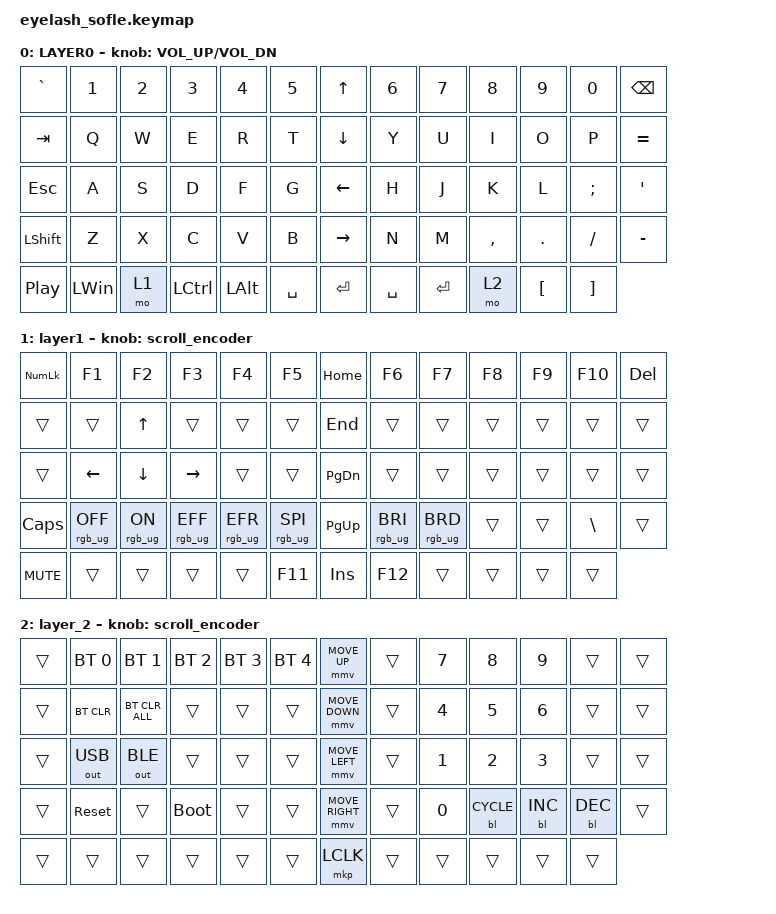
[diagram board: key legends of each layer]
#define ZMK_POINTING_DEFAULT_MOVE_VAL 1200  // 600
#define ZMK_POINTING_DEFAULT_SCRL_VAL 25   // 10

#include <input/processors.dtsi>
#include <zephyr/dt-bindings/input/input-event-codes.h>
#include <behaviors.dtsi>
#include <dt-bindings/zmk/backlight.h>
#include <dt-bindings/zmk/bt.h>
#include <dt-bindings/zmk/keys.h>
#include <dt-bindings/zmk/outputs.h>
#include <dt-bindings/zmk/pointing.h>
#include <dt-bindings/zmk/rgb.h>

&mmv_input_listener { input-processors = <&zip_xy_scaler 2 1>; };

&msc_input_listener { input-processors = <&zip_scroll_scaler 2 1>; };

&msc {
    acceleration-exponent = <1>;      // 0
    time-to-max-speed-ms = <100>;       // 300
    delay-ms = <0>;                   // 0
};

&mmv {
    time-to-max-speed-ms = <500>;
    acceleration-exponent = <1>;
    trigger-period-ms = <16>;
};

/ {
    scroll_encoder: scroll_encoder {
        compatible = "zmk,behavior-sensor-rotate";
        #sensor-binding-cells = <0>;
        bindings = <&msc SCRL_DOWN>, <&msc SCRL_UP>;

        tap-ms = <100>;
    };

    behaviors {
    };

    keymap {
        compatible = "zmk,keymap";

        Jose {
            bindings = <
&kp GRAVE         &kp N1        &kp N2  &kp N3            &kp N4        &kp N5       &kp UP_ARROW     &kp N6     &kp N7     &kp N8     &kp N9            &kp N0             &kp BSPC
&kp TAB           &kp Q         &kp W   &kp E             &kp R         &kp T        &kp DOWN_ARROW   &kp Y      &kp U      &kp I      &kp O             &kp P              &kp EQUAL
&kp ESCAPE        &kp A         &kp S   &kp D             &kp F         &kp G        &kp LEFT_ARROW   &kp H      &kp J      &kp K      &kp L             &kp SEMI           &kp APOS
&kp LSHFT         &kp Z         &kp X   &kp C             &kp V         &kp B        &kp RIGHT_ARROW  &kp N      &kp M      &kp COMMA  &kp DOT           &kp FSLH           &kp MINUS
&kp C_PLAY_PAUSE  &kp LEFT_WIN  &mo 1   &kp LEFT_CONTROL  &kp LEFT_ALT  &kp SPACE    &kp ENTER        &kp SPACE  &kp ENTER  &mo 2      &kp LEFT_BRACKET  &kp RIGHT_BRACKET
            >;

            sensor-bindings = <&inc_dec_kp C_VOLUME_UP C_VOL_DN>;
            display-name = "LAYER0";
        };

        layer_1 {
            bindings = <
&kp KP_NUMLOCK  &kp F1           &kp F2          &kp F3           &kp F4           &kp F5             &kp HOME       &kp F6           &kp F7           &kp F8  &kp F9  &kp F10        &kp DELETE
&trans          &trans           &kp UP          &trans           &trans           &trans             &kp END        &trans           &trans           &trans  &trans  &trans         &trans
&trans          &kp LEFT         &kp DOWN        &kp RIGHT_ARROW  &trans           &trans             &kp PAGE_DOWN  &trans           &trans           &trans  &trans  &trans         &trans
&kp CAPS        &rgb_ug RGB_OFF  &rgb_ug RGB_ON  &rgb_ug RGB_EFF  &rgb_ug RGB_EFR  &rgb_ug RGB_SPI    &kp PAGE_UP    &rgb_ug RGB_BRI  &rgb_ug RGB_BRD  &trans  &trans  &kp BACKSLASH  &trans
&kp C_MUTE      &trans           &trans          &trans           &trans           &kp F11            &kp INSERT     &kp F12          &trans           &trans  &trans  &trans
            >;

            display-name = "layer1";
            sensor-bindings = <&scroll_encoder>;
        };

        layer_2 {
            bindings = <
&trans  &bt BT_SEL 0  &bt BT_SEL 1    &bt BT_SEL 2  &bt BT_SEL 3  &bt BT_SEL 4    &mmv MOVE_UP     &trans  &kp NUMBER_7  &kp NUMBER_8  &kp NUMBER_9  &trans      &trans
&trans  &bt BT_CLR    &bt BT_CLR_ALL  &trans        &trans        &trans          &mmv MOVE_DOWN   &trans  &kp NUMBER_4  &kp N5        &kp NUMBER_6  &trans      &trans
&trans  &out OUT_USB  &out OUT_BLE    &trans        &trans        &trans          &mmv MOVE_LEFT   &trans  &kp NUMBER_1  &kp NUMBER_2  &kp NUMBER_3  &trans      &trans
&trans  &sys_reset    &trans          &bootloader   &trans        &trans          &mmv MOVE_RIGHT  &trans  &kp N0        &bl BL_CYCLE  &bl BL_INC    &bl BL_DEC  &trans
&trans  &trans        &trans          &trans        &trans        &trans          &mkp LCLK        &trans  &trans        &trans        &trans        &trans
            >;

            sensor-bindings = <&scroll_encoder>;
        };
    };
};
